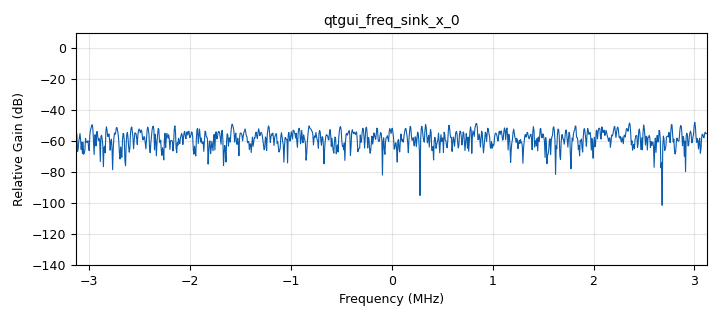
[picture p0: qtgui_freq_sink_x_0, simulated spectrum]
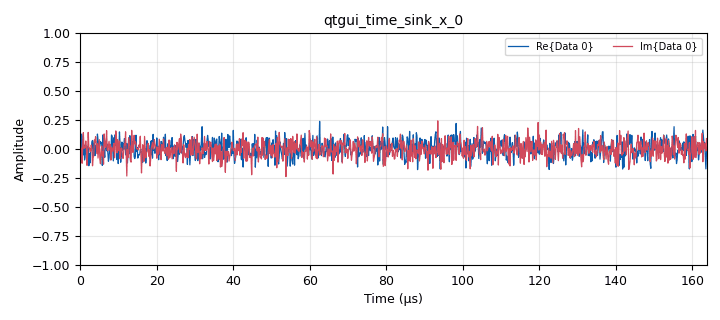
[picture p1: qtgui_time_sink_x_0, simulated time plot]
options:
  parameters:
    author: Diego_Sindy
    generate_options: qt_gui
    id: Practica1_labComu2_sub5
    output_language: python
    title: PracticaAnchoBanda
  states: {}

blocks:
- name: GTX
  id: variable_qtgui_range
  parameters:
    label: ganancia del TX
    start: '0'
    step: '1'
    stop: '30'
    value: '6'
  states: {}
- name: 'NO'
  id: variable_qtgui_range
  parameters:
    label: Amplitud Ruido
    start: '1e-6'
    step: '1e-6'
    stop: '500e-3'
    value: '100e-3'
  states: {}
- name: fc
  id: variable_qtgui_range
  parameters:
    label: Frecuencia Portadora
    start: 50e6
    step: 1e6
    stop: 2200e6
    value: 200e6
  states: {}
- name: samp_rate
  id: variable
  parameters:
    value: 12.5e6/2
  states: {}
- name: analog_noise_source_x_0
  id: analog_noise_source_x
  parameters:
    amp: 'NO'
    noise_type: analog.GR_GAUSSIAN
    seed: '0'
    type: complex
  states: {}
- name: blocks_throttle_0
  id: blocks_throttle
  parameters:
    samples_per_second: samp_rate
    type: complex
  states: {}
- name: qtgui_freq_sink_x_0
  id: qtgui_freq_sink_x
  parameters:
    bw: samp_rate
    fc: '0'
    fftsize: '1024'
    type: complex
  states: {}
- name: qtgui_time_sink_x_0
  id: qtgui_time_sink_x
  parameters:
    size: '1024'
    srate: samp_rate
    type: complex
  states: {}
- name: uhd_usrp_sink_0
  id: uhd_usrp_sink
  parameters:
    ant0: '"TX/RX"'
    center_freq0: fc
    gain0: GTX
    samp_rate: samp_rate
    sync: pc_clock
    type: fc32
  states: {}

connections:
- [analog_noise_source_x_0, '0', blocks_throttle_0, '0']
- [blocks_throttle_0, '0', qtgui_freq_sink_x_0, '0']
- [blocks_throttle_0, '0', qtgui_time_sink_x_0, '0']
- [blocks_throttle_0, '0', uhd_usrp_sink_0, '0']

metadata:
  file_format: 1
